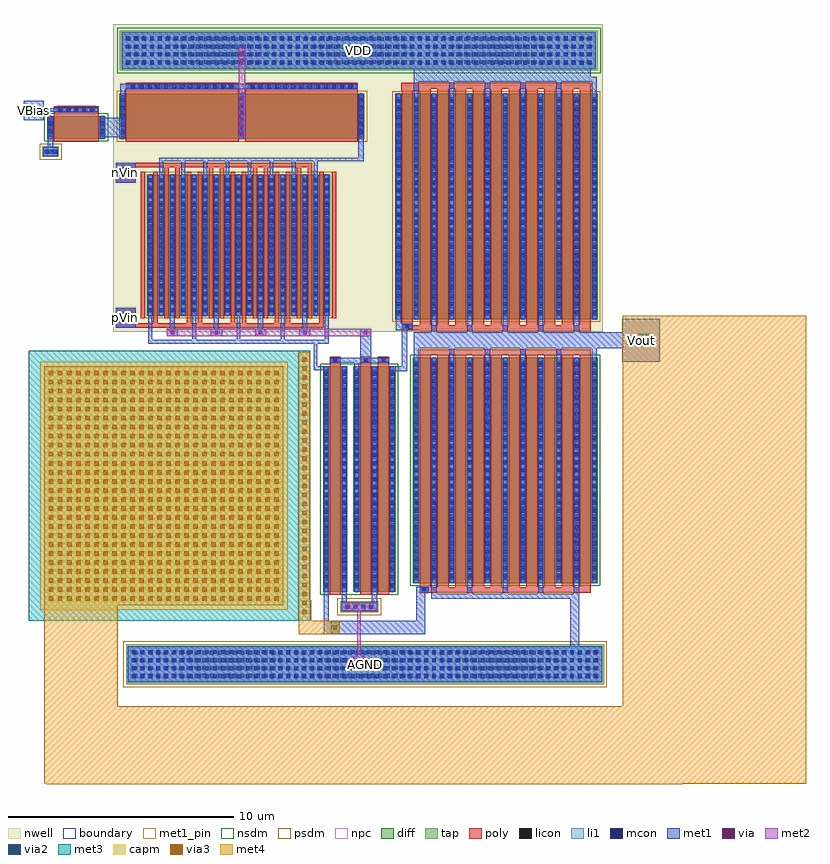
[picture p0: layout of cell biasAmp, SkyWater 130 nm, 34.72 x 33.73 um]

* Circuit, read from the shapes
.subckt biasAmp AGND VBias VDD Vout nVin pVin
XM1 n1 VBias AGND AGND sky130_fd_pr__nfet_01v8 w=1 l=2
XM2 AGND n2 n3 AGND sky130_fd_pr__nfet_01v8 w=10 l=0.5
XM3 AGND n2 n2 AGND sky130_fd_pr__nfet_01v8 w=10 l=0.5
XM4 n4 n2 AGND AGND sky130_fd_pr__nfet_01v8 w=10 l=0.5
XM5 AGND n3 Vout AGND sky130_fd_pr__nfet_01v8 w=10 l=0.5 m=10
XM6 VDD n1 n1 VDD sky130_fd_pr__pfet_01v8 w=2 l=5
XM7 n5 pVin n3 VDD sky130_fd_pr__pfet_01v8 w=6.25 l=0.2 m=8
XM8 n2 nVin n5 VDD sky130_fd_pr__pfet_01v8 w=6.25 l=0.2 m=8
XM9 n5 n1 VDD VDD sky130_fd_pr__pfet_01v8 w=2 l=5
XM10 VDD n4 n4 VDD sky130_fd_pr__pfet_01v8 w=10 l=0.5
XM11 Vout n4 VDD VDD sky130_fd_pr__pfet_01v8 w=10 l=0.5 m=10
XC12 Vout n3 sky130_fd_pr__cap_mim_m3_1 w=10.99 l=10.99
.ends

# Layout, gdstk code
import gdstk
lib = gdstk.Library(unit=1e-6, precision=1e-09)
def R(c, l, rs):  # rectangles x0, y0, x1, y1
    for r in rs: c.add(gdstk.rectangle(r[:2], r[2:], *l))
def A(c, l, x, y, w, h, nx, ny, dx, dy):  # array of equal rectangles
    R(c, l, [(x+i*dx, y+j*dy, x+i*dx+w, y+j*dy+h) for i in range(nx) for j in range(ny)])
nwell = (64, 20)
diff = (65, 20)
tap = (65, 44)
poly = (66, 20)
licon = (66, 44)
li1 = (67, 20)
mcon = (67, 44)
met1_pin = (68, 16)
met1 = (68, 20)
via = (68, 44)
met2 = (69, 20)
via2 = (69, 44)
met3 = (70, 20)
via3 = (70, 44)
met4 = (71, 20)
capm = (89, 44)
nsdm = (93, 44)
psdm = (94, 20)
npc = (95, 20)
boundary = (235, 4)

diffpair = lib.new_cell('diffPair')
R(diffpair, nwell, [(-5.49,-3.7,4.74,3.71)])
R(diffpair, diff, [(-4.06,-3.12,4.07,3.13)])
R(diffpair, poly, [(-5.44,-3.65,3.78,-3.46), (-5.44,-3.46,-4.55,-2.77), (-3.77,-3.46,-3.57,3.26), (-2.3,-3.46,-2.1,3.26), (-1.81,-3.46,-1.61,3.26), (-0.34,-3.46,-0.14,3.26), (0.15,-3.46,0.35,3.26), (1.62,-3.46,1.82,3.26), (2.11,-3.46,2.31,3.26), (3.58,-3.46,3.78,3.26), (-4.34,-3.25,-4.14,3.26), (-3.28,-3.25,-3.08,3.47), (-2.79,-3.25,-2.59,3.47), (-1.32,-3.25,-1.12,3.47), (-0.83,-3.25,-0.63,3.47), (0.64,-3.25,0.84,3.47), (1.13,-3.25,1.33,3.47), (2.6,-3.25,2.8,3.47), (3.09,-3.25,3.29,3.47), (4.15,-3.25,4.35,3.26), (-5.44,2.78,-4.55,3.47), (-5.44,3.47,3.29,3.66)])
A(diffpair, licon, -4, -2.97, 0.17, 0.17, 17, 18, 0.49, 0.34)
R(diffpair, licon, [(-5.245,-3.465,-5.075,-3.295), (-4.905,-3.465,-4.735,-3.295), (-5.245,-3.125,-5.075,-2.955), (-4.905,-3.125,-4.735,-2.955), (-5.245,2.965,-5.075,3.135), (-4.905,2.965,-4.735,3.135), (-5.245,3.305,-5.075,3.475), (-4.905,3.305,-4.735,3.475)])
A(diffpair, li1, -4, -3.14, 0.17, 6.29, 17, 1, 0.49, 0)
R(diffpair, li1, [(-5.44,-3.65,-4.55,-2.77), (-5.44,2.78,-4.55,3.66)])
A(diffpair, mcon, -4, -2.96, 0.17, 0.17, 17, 17, 0.49, 0.36)
R(diffpair, mcon, [(-5.255,-3.475,-5.085,-3.305), (-4.895,-3.475,-4.725,-3.305), (-5.255,-3.115,-5.085,-2.945), (-4.895,-3.115,-4.725,-2.945), (-5.255,2.955,-5.085,3.125), (-4.895,2.955,-4.725,3.125), (-5.255,3.315,-5.085,3.485), (-4.895,3.315,-4.725,3.485)])
A(diffpair, met1, -4, -4.19, 0.17, 1.07, 5, 1, 1.96, 0)
A(diffpair, met1, -3.18, -4.03, 0.5, 0.32, 4, 1, 1.96, 0)
A(diffpair, met1, -3.05, -3.71, 0.23, 6.84, 4, 1, 1.96, 0)
A(diffpair, met1, -2.56, -3.12, 0.23, 6.25, 3, 1, 0.49, 0)
A(diffpair, met1, -0.6, -3.12, 0.23, 6.25, 3, 1, 0.49, 0)
A(diffpair, met1, 1.36, -3.12, 0.23, 6.25, 3, 1, 0.49, 0)
A(diffpair, met1, -3.51, 3.13, 0.17, 0.59, 8, 1, 0.98, 0)
R(diffpair, met1, [(-4,-4.36,4.01,-4.19), (-5.44,-3.65,-4.55,-2.77), (-4.03,-3.12,-3.8,3.13), (-3.54,-3.12,-3.31,3.13), (3.32,-3.12,3.55,3.13), (3.81,-3.12,4.04,3.13), (-5.44,2.78,-4.55,3.66), (-3.51,3.72,3.52,3.89)])
A(diffpair, via, -3.005, -3.945, 0.15, 0.15, 4, 1, 1.96, 0)
R(diffpair, met2, [(-3.18,-4.03,3.2,-3.71)])
R(diffpair, psdm, [(-4.185,-3.245,4.195,3.255)])
R(diffpair, npc, [(-5.345,-3.565,-4.635,-2.855), (-5.345,2.865,-4.635,3.575)])

sky130_fd_pr__pfet_01v8_ = lib.new_cell('sky130_fd_pr__pfet_01v8_NDY9L5')
sky130_fd_pr__pfet_01v8_.add(gdstk.Reference(diffpair, (-11.225,-1.605)))

sky130_fd_pr__nfet_01v8_ = lib.new_cell('sky130_fd_pr__nfet_01v8_QAUSEG')
R(sky130_fd_pr__nfet_01v8_, diff, [(-0.54,-5.155,0.54,4.845)])
R(sky130_fd_pr__nfet_01v8_, poly, [(-0.25,-5.285,0.25,5.285)])
A(sky130_fd_pr__nfet_01v8_, licon, -0.48, -5, 0.17, 0.17, 1, 29, 0, 0.34)
A(sky130_fd_pr__nfet_01v8_, licon, 0.31, -5, 0.17, 0.17, 1, 29, 0, 0.34)
R(sky130_fd_pr__nfet_01v8_, licon, [(-0.085,5.035,0.085,5.205)])
R(sky130_fd_pr__nfet_01v8_, li1, [(-0.48,-5.175,-0.31,4.865), (0.31,-5.175,0.48,4.865), (-0.25,5.035,0.25,5.205)])
A(sky130_fd_pr__nfet_01v8_, mcon, -0.48, -4.92, 0.17, 0.17, 1, 27, 0, 0.36)
A(sky130_fd_pr__nfet_01v8_, mcon, 0.31, -4.92, 0.17, 0.17, 1, 27, 0, 0.36)
R(sky130_fd_pr__nfet_01v8_, mcon, [(-0.085,5.035,0.085,5.205)])
R(sky130_fd_pr__nfet_01v8_, met1, [(-0.51,-5.155,-0.28,4.845), (0.28,-5.155,0.51,4.845), (-0.23,5.005,0.23,5.235)])
R(sky130_fd_pr__nfet_01v8_, nsdm, [(-0.665,-5.28,0.665,4.97)])
R(sky130_fd_pr__nfet_01v8_, npc, [(-0.185,4.935,0.185,5.305)])

sky130_fd_pr__cap_mim_m3 = lib.new_cell('sky130_fd_pr__cap_mim_m3_1_A5GGR2')
R(sky130_fd_pr__cap_mim_m3, met3, [(-6.245,-5.995,6.24,5.995)])
A(sky130_fd_pr__cap_mim_m3, via3, 5.88, -5.7, 0.2, 0.2, 1, 29, 0, 0.4)
A(sky130_fd_pr__cap_mim_m3, via3, -5.35, -5.1, 0.2, 0.2, 26, 26, 0.4, 0.4)
R(sky130_fd_pr__cap_mim_m3, met4, [(5.74,-5.935,6.22,5.935), (-5.55,-5.3,5.05,5.3)])
R(sky130_fd_pr__cap_mim_m3, capm, [(-5.745,-5.495,5.245,5.495)])
R(sky130_fd_pr__cap_mim_m3, boundary, [(-6.245,-5.995,5.745,5.995)])

c_sky130_fd_pr__nfet_01v8_ = lib.new_cell('sky130_fd_pr__nfet_01v8_N3YEAS')
R(c_sky130_fd_pr__nfet_01v8_, diff, [(-1.29,-0.655,1.29,0.345)])
R(c_sky130_fd_pr__nfet_01v8_, poly, [(-1,-0.785,1,0.785)])
A(c_sky130_fd_pr__nfet_01v8_, licon, -1.23, -0.58, 0.17, 0.17, 1, 3, 0, 0.34)
A(c_sky130_fd_pr__nfet_01v8_, licon, 1.06, -0.58, 0.17, 0.17, 1, 3, 0, 0.34)
A(c_sky130_fd_pr__nfet_01v8_, licon, -0.765, 0.535, 0.17, 0.17, 5, 1, 0.34, 0)
R(c_sky130_fd_pr__nfet_01v8_, li1, [(-1.23,-0.675,-1.06,0.365), (1.06,-0.675,1.23,0.365), (-1,0.535,1,0.705)])
A(c_sky130_fd_pr__nfet_01v8_, mcon, -0.805, 0.535, 0.17, 0.17, 5, 1, 0.36, 0)
R(c_sky130_fd_pr__nfet_01v8_, mcon, [(-1.23,-0.42,-1.06,-0.25), (1.06,-0.42,1.23,-0.25), (-1.23,-0.06,-1.06,0.11), (1.06,-0.06,1.23,0.11)])
R(c_sky130_fd_pr__nfet_01v8_, met1, [(-1.26,-0.655,-1.03,0.345), (1.03,-0.655,1.26,0.345), (-0.98,0.505,0.98,0.735)])
R(c_sky130_fd_pr__nfet_01v8_, nsdm, [(-1.415,-0.78,1.415,0.47)])
R(c_sky130_fd_pr__nfet_01v8_, npc, [(-0.865,0.435,0.865,0.805)])

c_sky130_fd_pr__pfet_01v8_ = lib.new_cell('sky130_fd_pr__pfet_01v8_MV88VP')
R(c_sky130_fd_pr__pfet_01v8_, nwell, [(-5.615,-1.49,5.615,1.32)])
R(c_sky130_fd_pr__pfet_01v8_, diff, [(-5.435,-1.18,5.435,0.82)])
R(c_sky130_fd_pr__pfet_01v8_, poly, [(-5.145,-1.31,-0.145,1.305), (0.145,-1.31,5.145,1.305)])
A(c_sky130_fd_pr__pfet_01v8_, licon, -5.375, -1.115, 0.17, 0.17, 3, 6, 5.29, 0.34)
A(c_sky130_fd_pr__pfet_01v8_, licon, -4.94, 1.055, 0.17, 0.17, 14, 1, 0.34, 0)
A(c_sky130_fd_pr__pfet_01v8_, licon, 0.35, 1.055, 0.17, 0.17, 14, 1, 0.34, 0)
A(c_sky130_fd_pr__pfet_01v8_, li1, -5.375, -1.2, 0.17, 2.04, 3, 1, 5.29, 0)
R(c_sky130_fd_pr__pfet_01v8_, li1, [(-5.145,1.055,-0.145,1.225), (0.145,1.055,5.145,1.225)])
A(c_sky130_fd_pr__pfet_01v8_, mcon, -5.375, -0.985, 0.17, 0.17, 3, 5, 5.29, 0.36)
A(c_sky130_fd_pr__pfet_01v8_, mcon, -4.89, 1.055, 0.17, 0.17, 13, 1, 0.36, 0)
A(c_sky130_fd_pr__pfet_01v8_, mcon, 0.4, 1.055, 0.17, 0.17, 13, 1, 0.36, 0)
A(c_sky130_fd_pr__pfet_01v8_, met1, -5.405, -1.18, 0.23, 2, 3, 1, 5.29, 0)
R(c_sky130_fd_pr__pfet_01v8_, met1, [(-5.125,1.025,-0.165,1.255), (0.165,1.025,5.125,1.255)])
R(c_sky130_fd_pr__pfet_01v8_, psdm, [(-5.56,-1.305,5.56,0.945)])
R(c_sky130_fd_pr__pfet_01v8_, npc, [(-5.04,0.955,-0.25,1.325), (0.25,0.955,5.04,1.325)])

c_sky130_fd_pr__nfet_01v8__ = lib.new_cell('sky130_fd_pr__nfet_01v8_U894CR')
R(c_sky130_fd_pr__nfet_01v8__, diff, [(-4.09,-4.84,4.1,5.16)])
A(c_sky130_fd_pr__nfet_01v8__, poly, -3.8, -5.03, 0.5, 10.32, 10, 1, 0.79, 0)
R(c_sky130_fd_pr__nfet_01v8__, poly, [(-3.8,-5.28,3.81,-5.03), (-3.8,5.29,3.81,5.54)])
A(c_sky130_fd_pr__nfet_01v8__, licon, -4.03, -4.685, 0.17, 0.17, 11, 29, 0.79, 0.34)
R(c_sky130_fd_pr__nfet_01v8__, licon, [(-3.68,-5.2,-3.51,-5.03)])
A(c_sky130_fd_pr__nfet_01v8__, li1, -4.03, -4.86, 0.17, 10.04, 11, 1, 0.79, 0)
R(c_sky130_fd_pr__nfet_01v8__, li1, [(-3.8,-5.2,-3.39,-5.03)])
A(c_sky130_fd_pr__nfet_01v8__, mcon, -4.03, -4.605, 0.17, 0.17, 11, 27, 0.79, 0.36)
R(c_sky130_fd_pr__nfet_01v8__, mcon, [(-3.68,-5.2,-3.51,-5.03)])
A(c_sky130_fd_pr__nfet_01v8__, met1, -1.69, -5.31, 0.23, 10.47, 4, 1, 1.58, 0)
A(c_sky130_fd_pr__nfet_01v8__, met1, -4.06, -4.84, 0.23, 10.41, 6, 1, 1.58, 0)
R(c_sky130_fd_pr__nfet_01v8__, met1, [(-3.27,-5.54,-3.04,5.16), (-3.27,-5.54,3.28,-5.31), (-3.78,-5.23,-3.41,-5), (-4.06,5.57,4.07,5.8), (-0.11,5.8,0.12,5.93)])
R(c_sky130_fd_pr__nfet_01v8__, nsdm, [(-4.215,-4.965,4.225,5.285)])
R(c_sky130_fd_pr__nfet_01v8__, npc, [(-3.78,-5.3,-3.41,-4.93)])

c_sky130_fd_pr__pfet_01v8__ = lib.new_cell('sky130_fd_pr__pfet_01v8_GCY946')
R(c_sky130_fd_pr__pfet_01v8__, nwell, [(-4.26,-5.56,4.01,-5.5), (-4.26,-5.5,4.29,5.5)])
R(c_sky130_fd_pr__pfet_01v8__, diff, [(-4.08,-5,4.11,5)])
A(c_sky130_fd_pr__pfet_01v8__, poly, -3.79, -5.28, 0.5, 10.51, 10, 1, 0.79, 0)
R(c_sky130_fd_pr__pfet_01v8__, poly, [(-3.79,-5.54,3.82,-5.28), (-3.79,5.23,3.82,5.49)])
A(c_sky130_fd_pr__pfet_01v8__, licon, -4.02, -4.845, 0.17, 0.17, 11, 29, 0.79, 0.34)
A(c_sky130_fd_pr__pfet_01v8__, li1, -4.02, -5.02, 0.17, 10.04, 11, 1, 0.79, 0)
A(c_sky130_fd_pr__pfet_01v8__, mcon, -4.02, -4.765, 0.17, 0.17, 11, 27, 0.79, 0.36)
A(c_sky130_fd_pr__pfet_01v8__, met1, -3.26, -5.59, 0.23, 10.59, 5, 1, 1.58, 0)
A(c_sky130_fd_pr__pfet_01v8__, met1, -4.05, -5, 0.23, 10.53, 6, 1, 1.58, 0)
R(c_sky130_fd_pr__pfet_01v8__, met1, [(-0.1,-5.87,0.13,-5.82), (-3.26,-5.82,3.29,-5.59), (-4.05,5.53,4.08,5.76), (-0.13,5.76,0.16,5.87)])
R(c_sky130_fd_pr__pfet_01v8__, psdm, [(-4.205,-5.125,4.235,5.125)])

c_sky130_fd_pr__pfet_01v8___ = lib.new_cell('sky130_fd_pr__pfet_01v8_G3EKZ5')
R(c_sky130_fd_pr__pfet_01v8___, nwell, [(-0.72,-5.32,0.72,5.49)])
R(c_sky130_fd_pr__pfet_01v8___, diff, [(-0.54,-4.82,0.54,5.18)])
R(c_sky130_fd_pr__pfet_01v8___, poly, [(-0.25,-5.305,0.25,5.31)])
A(c_sky130_fd_pr__pfet_01v8___, licon, -0.48, -4.665, 0.17, 0.17, 1, 29, 0, 0.34)
A(c_sky130_fd_pr__pfet_01v8___, licon, 0.31, -4.665, 0.17, 0.17, 1, 29, 0, 0.34)
R(c_sky130_fd_pr__pfet_01v8___, licon, [(-0.085,-5.225,0.085,-5.055)])
R(c_sky130_fd_pr__pfet_01v8___, li1, [(-0.25,-5.225,0.25,-5.055), (-0.48,-4.84,-0.31,5.2), (0.31,-4.84,0.48,5.2)])
A(c_sky130_fd_pr__pfet_01v8___, mcon, -0.48, -4.585, 0.17, 0.17, 1, 27, 0, 0.36)
A(c_sky130_fd_pr__pfet_01v8___, mcon, 0.31, -4.585, 0.17, 0.17, 1, 27, 0, 0.36)
R(c_sky130_fd_pr__pfet_01v8___, mcon, [(-0.085,-5.225,0.085,-5.055)])
R(c_sky130_fd_pr__pfet_01v8___, met1, [(-0.23,-5.255,0.23,-5.025), (-0.51,-4.82,-0.28,5.18), (0.28,-4.82,0.51,5.18)])
R(c_sky130_fd_pr__pfet_01v8___, psdm, [(-0.665,-4.945,0.665,5.305)])
R(c_sky130_fd_pr__pfet_01v8___, npc, [(-0.185,-5.325,0.185,-4.955)])

c_sky130_fd_pr__nfet_01v8___ = lib.new_cell('sky130_fd_pr__nfet_01v8_JSTS37')
R(c_sky130_fd_pr__nfet_01v8___, diff, [(-0.935,-5.155,0.935,4.845)])
R(c_sky130_fd_pr__nfet_01v8___, poly, [(-0.645,-5.285,-0.145,5.285), (0.145,-5.285,0.645,5.285)])
A(c_sky130_fd_pr__nfet_01v8___, licon, -0.875, -5, 0.17, 0.17, 3, 29, 0.79, 0.34)
R(c_sky130_fd_pr__nfet_01v8___, licon, [(-0.48,5.035,-0.31,5.205), (0.31,5.035,0.48,5.205)])
A(c_sky130_fd_pr__nfet_01v8___, li1, -0.875, -5.175, 0.17, 10.04, 3, 1, 0.79, 0)
R(c_sky130_fd_pr__nfet_01v8___, li1, [(-0.645,5.035,-0.145,5.205), (0.145,5.035,0.645,5.205)])
A(c_sky130_fd_pr__nfet_01v8___, mcon, -0.875, -4.92, 0.17, 0.17, 3, 27, 0.79, 0.36)
R(c_sky130_fd_pr__nfet_01v8___, mcon, [(-0.48,5.035,-0.31,5.205), (0.31,5.035,0.48,5.205)])
A(c_sky130_fd_pr__nfet_01v8___, met1, -0.905, -5.155, 0.23, 10, 3, 1, 0.79, 0)
R(c_sky130_fd_pr__nfet_01v8___, met1, [(-0.625,5.005,-0.165,5.235), (0.165,5.005,0.625,5.235)])
R(c_sky130_fd_pr__nfet_01v8___, nsdm, [(-1.06,-5.28,1.06,4.97)])
R(c_sky130_fd_pr__nfet_01v8___, npc, [(-0.58,4.935,-0.21,5.305), (0.21,4.935,0.58,5.305)])

biasamp = lib.new_cell('biasAmp')
R(biasamp, nwell, [(-41.97,32.93,-28.84,32.99), (-20.59,32.93,-20.24,32.99), (-41.97,32.99,-20.24,33.12), (-41.97,33.12,-41.85,34), (-40.96,33.12,-20.24,34), (-41.97,34,-20.24,40.47), (-41.97,40.47,-41.895,40.475), (-31.92,40.47,-20.24,40.475), (-41.97,40.475,-20.24,41.21), (-41.97,41.21,-36.38,41.36), (-36.13,41.21,-20.24,41.36), (-41.97,41.36,-20.24,46.59)])
R(biasamp, tap, [(-41.39,17.29,-20.18,19.06), (-31.89,20.48,-30.19,20.97), (-45.11,40.69,-44.38,41.16), (-41.67,44.53,-20.46,46.3)])
R(biasamp, poly, [(-29.16,33,-27.87,33.21), (-29.17,43.62,-28.36,43.98)])
A(biasamp, licon, -41.07, 17.58, 0.17, 0.17, 61, 4, 0.34, 0.34)
A(biasamp, licon, -31.635, 20.64, 0.17, 0.17, 4, 1, 0.34, 0)
A(biasamp, licon, -41.35, 44.82, 0.17, 0.17, 61, 4, 0.34, 0.34)
R(biasamp, licon, [(-44.83,40.84,-44.66,41.01)])
R(biasamp, li1, [(-41.31,17.37,-20.26,18.98), (-31.85,20.52,-30.23,20.93), (-41.76,39.63,-41.04,40.35), (-45.07,40.73,-44.42,41.12), (-41.59,44.61,-20.54,46.22)])
A(biasamp, mcon, -41.13, 17.55, 0.17, 0.17, 58, 4, 0.36, 0.36)
A(biasamp, mcon, -31.665, 20.64, 0.17, 0.17, 4, 1, 0.36, 0)
A(biasamp, mcon, -41.41, 44.79, 0.17, 0.17, 58, 4, 0.36, 0.36)
R(biasamp, mcon, [(-41.665,39.725,-41.495,39.895), (-41.305,39.725,-41.135,39.895), (-41.665,40.085,-41.495,40.255), (-41.305,40.085,-41.135,40.255), (-45.01,40.84,-44.84,41.01), (-44.65,40.84,-44.48,41.01)])
R(biasamp, met1_pin, [(-41.23,17.45,-20.34,18.9), (-19.37,31.6,-17.7,33.5), (-41.76,33.2,-41.04,33.92), (-41.76,39.63,-41.04,40.35), (-45.93,42.31,-45.04,43.19), (-41.51,44.69,-20.62,46.14)])
R(biasamp, met1, [(-41.31,17.37,-20.26,18.98), (-21.67,18.98,-21.29,21.17), (-32.62,19.5,-28.12,20.1), (-32.62,20.1,-32.39,21.45), (-28.51,20.1,-28.12,21.34), (-31.83,20.54,-30.25,20.91), (-31.83,20.91,-31.59,21.42), (-30.48,20.91,-30.25,21.44), (-28.51,21.34,-27.98,21.62), (-29.66,31.17,-28.91,31.39), (-33.07,31.23,-32.39,31.39), (-31.27,31.31,-31.04,31.55), (-33.07,31.39,-32.9,32.42), (-29.16,31.39,-28.91,33), (-32.36,31.55,-29.72,31.78), (-19.37,31.6,-17.7,32.19), (-31.01,31.78,-30.51,33.06), (-20.55,32.19,-17.7,32.42), (-33.15,32.42,-32.98,32.44), (-28.63,32.42,-17.7,32.67), (-28.63,32.67,-27.84,32.9), (-21.29,32.67,-17.7,32.9), (-19.37,32.9,-17.7,33.5), (-29.42,33,-28.91,33.05), (-29.42,33.05,-28.66,33.29), (-41.85,33.12,-40.96,34), (-29.42,33.29,-29.19,33.57), (-41.85,39.55,-40.96,40.43), (-32.91,40.49,-30.85,40.66), (-31.08,40.66,-30.85,41.51), (-45.07,40.73,-44.42,41.12), (-44.86,41.12,-44.63,42.16), (-36.4,41.47,-36.11,43.53), (-42.54,41.56,-41.46,42.44), (-45.93,42.31,-45.04,42.7), (-45.93,42.7,-44.4,42.86), (-45.93,42.86,-45.04,43.19), (-41.63,43.42,-41.44,43.44), (-41.65,43.44,-41.44,43.7), (-41.65,43.7,-41.22,43.94), (-36.42,43.7,-36.09,43.94), (-28.63,44.15,-20.76,44.61), (-41.59,44.61,-20.54,46.22)])
A(biasamp, via, -31.59, 20.65, 0.15, 0.15, 4, 1, 0.32, 0)
A(biasamp, via, -36.33, 41.625, 0.15, 0.15, 1, 6, 0, 0.32)
R(biasamp, via, [(-31.125,18.285,-30.975,18.435), (-32.185,19.725,-32.035,19.875), (-18.535,32.485,-18.385,32.635), (-30.835,32.825,-30.685,32.975), (-36.33,44.9,-36.18,45.05), (-36.33,45.22,-36.18,45.37)])
R(biasamp, met2, [(-31.3,18.2,-30.8,18.52), (-31.14,18.52,-30.97,20.54), (-32.29,19.53,-31.93,20.07), (-31.83,20.54,-30.25,20.91), (-18.64,32.29,-18.28,32.83), (-33.24,32.74,-30.51,33.06), (-36.4,41.47,-36.11,45.57)])
R(biasamp, via2, [(-32.21,19.7,-32.01,19.9), (-18.56,32.46,-18.36,32.66)])
R(biasamp, met3, [(-32.32,19.5,-31.9,20.1), (-18.67,32.26,-18.17,32.86)])
R(biasamp, via3, [(-32.21,19.7,-32.01,19.9), (-18.56,32.46,-18.36,32.66)])
R(biasamp, met4, [(-44.945,12.86,-16.685,12.865), (-44.945,12.865,-11.21,12.885), (-45.015,12.885,-11.21,16.32), (-45.015,16.32,-41.755,21.98), (-19.36,16.32,-11.21,33.65), (-33.74,19.5,-31.9,20.1), (-33.74,20.1,-33.17,21.02)])
R(biasamp, nsdm, [(-31.445,21.265,-31.425,31.515), (-41.795,44.405,-20.335,46.425)])
R(biasamp, psdm, [(-41.515,17.165,-20.055,19.185), (-32.015,20.355,-30.065,21.095), (-45.235,40.565,-44.255,41.285)])
biasamp.add(gdstk.Reference(sky130_fd_pr__pfet_01v8_, (-25.185,38.375)))
biasamp.add(gdstk.Reference(sky130_fd_pr__nfet_01v8_, (-32.11,26.545)))
biasamp.add(gdstk.Reference(sky130_fd_pr__cap_mim_m3, (-39.465,26.095)))
biasamp.add(gdstk.Reference(c_sky130_fd_pr__nfet_01v8_, (-43.6,42.16)))
biasamp.add(gdstk.Reference(c_sky130_fd_pr__pfet_01v8_, (-36.255,42.68)))
biasamp.add(gdstk.Reference(c_sky130_fd_pr__nfet_01v8__, (-24.57,26.62)))
biasamp.add(gdstk.Reference(c_sky130_fd_pr__pfet_01v8__, (-24.58,38.49)))
biasamp.add(gdstk.Reference(c_sky130_fd_pr__pfet_01v8___, (-28.91,38.31)))
biasamp.add(gdstk.Reference(c_sky130_fd_pr__nfet_01v8___, (-30.365,26.545)))
biasamp.add(gdstk.Label('nVin', (-41.4,39.99), layer=68, texttype=16))
biasamp.add(gdstk.Label('pVin', (-41.4,33.56), layer=68, texttype=16))
biasamp.add(gdstk.Label('Vout', (-18.535,32.55), layer=68, texttype=16))
biasamp.add(gdstk.Label('VBias', (-45.485,42.75), layer=68, texttype=16))
biasamp.add(gdstk.Label('VDD', (-31.065,45.415), layer=68, texttype=16))
biasamp.add(gdstk.Label('AGND', (-30.785,18.175), layer=68, texttype=16))

lib.write_gds('biasAmp.gds')
